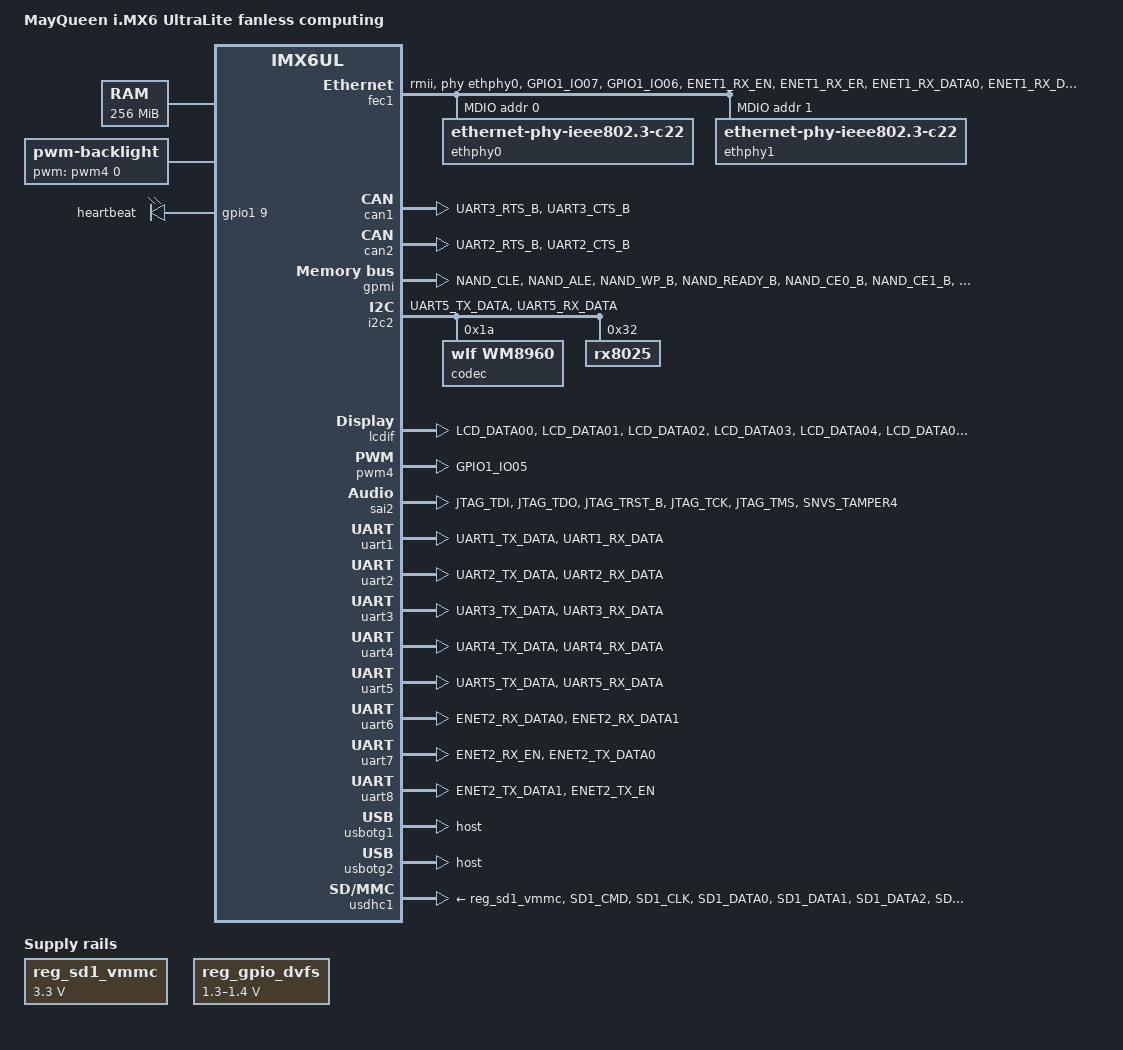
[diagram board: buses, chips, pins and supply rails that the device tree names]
/*
 * Copyright (C) 2018 MayQueen Technologies
 *
 * Author: Wig Cheng <onlywig@gmail.com>
 *
 * This file is dual-licensed: you can use it either under the terms
 * of the GPL or the X11 license, at your option. Note that this dual
 * licensing only applies to this file, and not this project as a
 * whole.
 *
 *  a) This file is free software; you can redistribute it and/or
 *     modify it under the terms of the GNU General Public License as
 *     published by the Free Software Foundation; either version 2 of the
 *     License, or (at your option) any later version.
 *
 *     This file is distributed in the hope that it will be useful,
 *     but WITHOUT ANY WARRANTY; without even the implied warranty of
 *     MERCHANTABILITY or FITNESS FOR A PARTICULAR PURPOSE.  See the
 *     GNU General Public License for more details.
 *
 * Or, alternatively,
 *
 *  b) Permission is hereby granted, free of charge, to any person
 *     obtaining a copy of this software and associated documentation
 *     files (the "Software"), to deal in the Software without
 *     restriction, including without limitation the rights to use,
 *     copy, modify, merge, publish, distribute, sublicense, and/or
 *     sell copies of the Software, and to permit persons to whom the
 *     Software is furnished to do so, subject to the following
 *     conditions:
 *
 *     The above copyright notice and this permission notice shall be
 *     included in all copies or substantial portions of the Software.
 *
 *     THE SOFTWARE IS PROVIDED "AS IS", WITHOUT WARRANTY OF ANY KIND,
 *     EXPRESS OR IMPLIED, INCLUDING BUT NOT LIMITED TO THE WARRANTIES
 *     OF MERCHANTABILITY, FITNESS FOR A PARTICULAR PURPOSE AND
 *     NONINFRINGEMENT. IN NO EVENT SHALL THE AUTHORS OR COPYRIGHT
 *     HOLDERS BE LIABLE FOR ANY CLAIM, DAMAGES OR OTHER LIABILITY,
 *     WHETHER IN AN ACTION OF CONTRACT, TORT OR OTHERWISE, ARISING
 *     FROM, OUT OF OR IN CONNECTION WITH THE SOFTWARE OR THE USE OR
 *     OTHER DEALINGS IN THE SOFTWARE.
*/

/dts-v1/;

#include "imx6ul.dtsi"

/ {
	model = "MayQueen i.MX6 UltraLite fanless computing";
	compatible = "mq,imx6ul-panzer", "fsl,imx6ul";

	chosen {
		stdout-path = &uart1;
	};

	memory {
		reg = <0x80000000 0x10000000>;
	};

	backlight {
		compatible = "pwm-backlight";
		pwms = <&pwm4 0 5000000>;
		brightness-levels = <0 4 8 16 32 64 128 255>;
		default-brightness-level = <6>;
		status = "okay";
	};

	leds {
		compatible = "gpio-leds";
		status = "okay";
		led {
			label = "heartbeat";
			gpios = <&gpio1 9 0>;
			linux,default-trigger = "heartbeat";
			default-state = "on";
		};
	};

	pxp_v4l2 {
		compatible = "fsl,imx6ul-pxp-v4l2", "fsl,imx6sx-pxp-v4l2", "fsl,imx6sl-pxp-v4l2";
		status = "disabled";
	};

	regulators {
		compatible = "simple-bus";
		#address-cells = <1>;
		#size-cells = <0>;

		reg_sd1_vmmc: sd1_regulator {
			compatible = "regulator-fixed";
			regulator-name = "VSD_3V3";
			regulator-min-microvolt = <3300000>;
			regulator-max-microvolt = <3300000>;
			enable-active-high;
		};

		reg_gpio_dvfs: regulator-gpio {
			compatible = "regulator-gpio";
			pinctrl-names = "default";
			pinctrl-0 = <&pinctrl_dvfs>;
			regulator-min-microvolt = <1300000>;
			regulator-max-microvolt = <1400000>;
			regulator-name = "gpio_dvfs";
			regulator-type = "voltage";
			gpios = <&gpio5 3 GPIO_ACTIVE_HIGH>;
			states = <1300000 0x1 1400000 0x0>;
		};
	};

	sound: sound {
		compatible = "fsl,imx6ul-evk-wm8960",
			   "fsl,imx-audio-wm8960";
		model = "wm8960-audio";
		cpu-dai = <&sai2>;
		audio-codec = <&codec>;
		asrc-controller = <&asrc>;
		codec-master;
		gpr = <&gpr 4 0x100000 0x100000>;
		/*
                 * hp-det = <hp-det-pin hp-det-polarity>;
		 * hp-det-pin: JD1 JD2  or JD3
		 * hp-det-polarity = 0: hp detect high for headphone
		 * hp-det-polarity = 1: hp detect high for speaker
		 */
		audio-routing =
			"Headphone Jack", "HP_L",
			"Headphone Jack", "HP_R",
			"Ext Spk", "SPK_LP",
			"Ext Spk", "SPK_LN",
			"Ext Spk", "SPK_RP",
			"Ext Spk", "SPK_RN",
			"LINPUT2", "Mic Jack",
			"LINPUT3", "Mic Jack",
			"RINPUT1", "Main MIC",
			"RINPUT2", "Main MIC",
			"Mic Jack", "MICB",
			"Main MIC", "MICB",
			"CPU-Playback", "ASRC-Playback",
			"Playback", "CPU-Playback",
			"ASRC-Capture", "CPU-Capture",
			"CPU-Capture", "Capture";
	};
};

&clks {
	assigned-clocks = <&clks IMX6UL_CLK_PLL4_AUDIO_DIV>;
	assigned-clock-rates = <786432000>;
};

&cpu0 {
	arm-supply = <&reg_arm>;
	soc-supply = <&reg_soc>;
	dc-supply = <&reg_gpio_dvfs>;
};

&fec1 {
	pinctrl-names = "default";
	pinctrl-0 = <&pinctrl_enet1>;
	phy-mode = "rmii";
	phy-handle = <&ethphy0>;
	phy-reset-duration = <0x02>;
	phy-reset-gpios = <&gpio1 8 0>;

	status = "okay";
	mdio {
		#address-cells = <1>;
		#size-cells = <0>;

		ethphy0: ethernet-phy@0 {
			compatible = "ethernet-phy-ieee802.3-c22";
			reg = <0>;
		};

		ethphy1: ethernet-phy@1 {
			compatible = "ethernet-phy-ieee802.3-c22";
			reg = <1>;
		};
	};
};

&can1 {
	pinctrl-names = "default";
	pinctrl-0 = <&pinctrl_flexcan1>;
	status = "okay";
};

&can2 {
	pinctrl-names = "default";
	pinctrl-0 = <&pinctrl_flexcan2>;
	status = "okay";
};

&gpc {
	fsl,cpu_pupscr_sw2iso = <0x1>;
	fsl,cpu_pupscr_sw = <0x0>;
	fsl,cpu_pdnscr_iso2sw = <0x1>;
	fsl,cpu_pdnscr_iso = <0x1>;
	fsl,wdog-reset = <1>; /* watchdog select of reset source */
	fsl,ldo-bypass = <0>; /* DCDC, ldo-enable */
};

&gpmi {
		pinctrl-names = "default";
		pinctrl-0 = <&pinctrl_gpmi_nand>;
		status = "okay";

		partition@0 {
			label = "UBoot";
			reg = <0x0000000 0x400000>;
		};

		partition@1 {
			label = "kernel";
			reg = <0x400000 0x1000000>;
		};

		partition@2 {
			label = "dtb";
			reg = <0x1400000 0x80000>;
		};

		partition@3 {
			label = "rootfs";
			reg = <0x1480000 0xEB80000>;
		};
};

&i2c2 {
	clock_frequency = <100000>;
	pinctrl-names = "default";
	pinctrl-0 = <&pinctrl_i2c2>;
	status = "okay";

	codec: wm8960@1a {
		#sound-dai-cells = <0>;
		compatible = "wlf,wm8960";
		reg = <0x1a>;
		wlf,shared-lrclk;
		clocks = <&clks IMX6UL_CLK_SAI2>;
		clock-names = "mclk";
	};

	rx8025@32 {
		compatible = "rx8025";
		reg = <0x32>;
		status = "okay";
	};
};

&lcdif {
	pinctrl-names = "default";
	pinctrl-0 = <&pinctrl_lcdif_dat
		     &pinctrl_lcdif_ctrl>;
	display = <&display0>;
	status = "okay";

	display0: display {
		bits-per-pixel = <32>;
		bus-width = <24>;

		display-timings {
			native-mode = <&timing0>;
			timing0: timing0 {
				clock-frequency = <85500000>;
				hactive = <1280>;
				vactive = <800>;
				hfront-porch = <200>;
				hback-porch = <136>;
				hsync-len = <112>;
				vback-porch = <24>;
				vfront-porch = <1>;
				vsync-len = <3>;
				hsync-active = <0>;
				vsync-active = <0>;
				de-active = <1>;
				pixelclk-active = <0>;
			};
		};
	};
};

&pwm4 {
	pinctrl-names = "default";
	pinctrl-0 = <&pinctrl_pwm4>;
	status = "okay";
};

&pxp {
	status = "disabled";
};

&sai2 {
	pinctrl-names = "default";
	pinctrl-0 = <&pinctrl_sai2>;
	assigned-clocks = <&clks IMX6UL_CLK_SAI2_SEL>,
			  <&clks IMX6UL_CLK_SAI2>;
	assigned-clock-parents = <&clks IMX6UL_CLK_PLL4_AUDIO_DIV>;
	assigned-clock-rates = <0>, <12288000>;
	fsl,sai-mclk-direction-output;
	status = "okay";
};

&tsc {
	pinctrl-names = "default";
	pinctrl-0 = <&pinctrl_tsc>;
	xnur-gpio = <&gpio1 3 GPIO_ACTIVE_LOW>;
	measure-delay-time = <0x5ff>;
	pre-charge-time = <0xfff>;
	status = "disabled";
};

&uart1 {
	pinctrl-names = "default";
	pinctrl-0 = <&pinctrl_uart1>;
	status = "okay";
};

&uart2 {
	pinctrl-names = "default";
	pinctrl-0 = <&pinctrl_uart2>;
	status = "okay";
};

&uart3 {
	pinctrl-names = "default";
	pinctrl-0 = <&pinctrl_uart3>;
	status = "okay";
};

&uart4 {
	pinctrl-names = "default";
	pinctrl-0 = <&pinctrl_uart4>;
	status = "okay";
};

&uart5 {
	pinctrl-names = "default";
	pinctrl-0 = <&pinctrl_uart5>;
	status = "okay";
};

&uart6 {
	pinctrl-names = "default";
	pinctrl-0 = <&pinctrl_uart6>;
	status = "okay";
};

&uart7 {
	pinctrl-names = "default";
	pinctrl-0 = <&pinctrl_uart7>;
	status = "okay";
};

&uart8 {
	pinctrl-names = "default";
	pinctrl-0 = <&pinctrl_uart8>;
	status = "okay";
};

&usbotg1 {
	dr_mode = "host";
	srp-disable;
	hnp-disable;
	adp-disable;
	status = "okay";
};

&usbotg2 {
	dr_mode = "host";
	disable-over-current;
	status = "okay";
};

&usbphy1 {
	tx-d-cal = <0x5>;
};

&usbphy2 {
	tx-d-cal = <0x5>;
};

&usdhc1 {
	pinctrl-names = "default", "state_100mhz", "state_200mhz";
	pinctrl-0 = <&pinctrl_usdhc1>;
	pinctrl-1 = <&pinctrl_usdhc1_100mhz>;
	pinctrl-2 = <&pinctrl_usdhc1_200mhz>;
	cd-gpios = <&gpio1 19 GPIO_ACTIVE_LOW>;
	no-1-8-v;
	keep-power-in-suspend;
	wakeup-source;
	vmmc-supply = <&reg_sd1_vmmc>;
	status = "okay";
};

&iomuxc {
	pinctrl-names = "default";
	pinctrl-0 = <&pinctrl_hog_1>;

	pinctrl_hog_1: hoggrp-1 {
		fsl,pins = <
			MX6UL_PAD_SNVS_TAMPER0__GPIO5_IO00	0x17059
			MX6UL_PAD_LCD_RESET__WDOG1_WDOG_ANY	0x30b0
			MX6UL_PAD_SNVS_TAMPER0__GPIO5_IO00	0x80000000
			MX6UL_PAD_SNVS_TAMPER8__GPIO5_IO08	0x80000000
			MX6UL_PAD_SNVS_TAMPER9__GPIO5_IO09	0x80000000
			MX6UL_PAD_GPIO1_IO08__GPIO1_IO08		0x80000000
			MX6UL_PAD_GPIO1_IO01__GPIO1_IO01		0x17059
			MX6UL_PAD_GPIO1_IO02__GPIO1_IO02		0x17059
			MX6UL_PAD_GPIO1_IO03__GPIO1_IO03		0x17059
			MX6UL_PAD_GPIO1_IO04__GPIO1_IO04		0x17059
		>;
	};

	pinctrl_dvfs: dvfsgrp {
		fsl,pins = <
			MX6UL_PAD_SNVS_TAMPER3__GPIO5_IO03	0x79
		>;
	};
	pinctrl_enet1: enet1grp {
		fsl,pins = <
			MX6UL_PAD_GPIO1_IO07__ENET1_MDC		0x1b0b0
			MX6UL_PAD_GPIO1_IO06__ENET1_MDIO	0x1b0b0
			MX6UL_PAD_ENET1_RX_EN__ENET1_RX_EN	0x1b0b0
			MX6UL_PAD_ENET1_RX_ER__ENET1_RX_ER	0x1b0b0
			MX6UL_PAD_ENET1_RX_DATA0__ENET1_RDATA00	0x1b0b0
			MX6UL_PAD_ENET1_RX_DATA1__ENET1_RDATA01	0x1b0b0
			MX6UL_PAD_ENET1_TX_EN__ENET1_TX_EN	0x1b0b0
			MX6UL_PAD_ENET1_TX_DATA0__ENET1_TDATA00	0x1b0b0
			MX6UL_PAD_ENET1_TX_DATA1__ENET1_TDATA01	0x1b0b0
			MX6UL_PAD_ENET1_TX_CLK__ENET1_REF_CLK1	0x4001b031
		>;
	};

	pinctrl_flexcan1: flexcan1grp{
		fsl,pins = <
			MX6UL_PAD_UART3_RTS_B__FLEXCAN1_RX	0x1b020
			MX6UL_PAD_UART3_CTS_B__FLEXCAN1_TX	0x1b020
		>;
	};

	pinctrl_flexcan2: flexcan2grp{
		fsl,pins = <
			MX6UL_PAD_UART2_RTS_B__FLEXCAN2_RX	0x1b020
			MX6UL_PAD_UART2_CTS_B__FLEXCAN2_TX	0x1b020
		>;
	};

	pinctrl_i2c2: i2c2grp {
		fsl,pins = <
			MX6UL_PAD_UART5_TX_DATA__I2C2_SCL 0x4001b8b0
			MX6UL_PAD_UART5_RX_DATA__I2C2_SDA 0x4001b8b0
		>;
	};

	pinctrl_lcdif_dat: lcdifdatgrp {
		fsl,pins = <
			MX6UL_PAD_LCD_DATA00__LCDIF_DATA00  0x79
			MX6UL_PAD_LCD_DATA01__LCDIF_DATA01  0x79
			MX6UL_PAD_LCD_DATA02__LCDIF_DATA02  0x79
			MX6UL_PAD_LCD_DATA03__LCDIF_DATA03  0x79
			MX6UL_PAD_LCD_DATA04__LCDIF_DATA04  0x79
			MX6UL_PAD_LCD_DATA05__LCDIF_DATA05  0x79
			MX6UL_PAD_LCD_DATA06__LCDIF_DATA06  0x79
			MX6UL_PAD_LCD_DATA07__LCDIF_DATA07  0x79
			MX6UL_PAD_LCD_DATA08__LCDIF_DATA08  0x79
			MX6UL_PAD_LCD_DATA09__LCDIF_DATA09  0x79
			MX6UL_PAD_LCD_DATA10__LCDIF_DATA10  0x79
			MX6UL_PAD_LCD_DATA11__LCDIF_DATA11  0x79
			MX6UL_PAD_LCD_DATA12__LCDIF_DATA12  0x79
			MX6UL_PAD_LCD_DATA13__LCDIF_DATA13  0x79
			MX6UL_PAD_LCD_DATA14__LCDIF_DATA14  0x79
			MX6UL_PAD_LCD_DATA15__LCDIF_DATA15  0x79
			MX6UL_PAD_LCD_DATA16__LCDIF_DATA16  0x79
			MX6UL_PAD_LCD_DATA17__LCDIF_DATA17  0x79
			MX6UL_PAD_LCD_DATA18__LCDIF_DATA18  0x79
			MX6UL_PAD_LCD_DATA19__LCDIF_DATA19  0x79
			MX6UL_PAD_LCD_DATA20__LCDIF_DATA20  0x79
			MX6UL_PAD_LCD_DATA21__LCDIF_DATA21  0x79
			MX6UL_PAD_LCD_DATA22__LCDIF_DATA22  0x79
			MX6UL_PAD_LCD_DATA23__LCDIF_DATA23  0x79
		>;
	};

	pinctrl_lcdif_ctrl: lcdifctrlgrp {
		fsl,pins = <
			MX6UL_PAD_LCD_CLK__LCDIF_CLK	    0x79
			MX6UL_PAD_LCD_ENABLE__LCDIF_ENABLE  0x79
			MX6UL_PAD_LCD_HSYNC__LCDIF_HSYNC    0x79
			MX6UL_PAD_LCD_VSYNC__LCDIF_VSYNC    0x79
		>;
	};

	pinctrl_sai2: sai2grp {
		fsl,pins = <
			MX6UL_PAD_JTAG_TDI__SAI2_TX_BCLK	0x17088
			MX6UL_PAD_JTAG_TDO__SAI2_TX_SYNC	0x17088
			MX6UL_PAD_JTAG_TRST_B__SAI2_TX_DATA	0x11088
			MX6UL_PAD_JTAG_TCK__SAI2_RX_DATA	0x11088
			MX6UL_PAD_JTAG_TMS__SAI2_MCLK		0x17088
			MX6UL_PAD_SNVS_TAMPER4__GPIO5_IO04	0x17059
		>;
	};

	pinctrl_pwm4: pwm4grp {
		fsl,pins = <
			MX6UL_PAD_GPIO1_IO05__PWM4_OUT   0x110b0
		>;
	};

	pinctrl_gpmi_nand: gpmi-nand {
		fsl,pins = <
			MX6UL_PAD_NAND_CLE__RAWNAND_CLE	0xb0b1
			MX6UL_PAD_NAND_ALE__RAWNAND_ALE	0xb0b1
			MX6UL_PAD_NAND_WP_B__RAWNAND_WP_B	0xb0b1
			MX6UL_PAD_NAND_READY_B__RAWNAND_READY_B	0xb000
			MX6UL_PAD_NAND_CE0_B__RAWNAND_CE0_B	0xb0b1
			MX6UL_PAD_NAND_CE1_B__RAWNAND_CE1_B	0xb0b1
			MX6UL_PAD_NAND_RE_B__RAWNAND_RE_B	0xb0b1
			MX6UL_PAD_NAND_WE_B__RAWNAND_WE_B	0xb0b1
			MX6UL_PAD_NAND_DATA00__RAWNAND_DATA00	0xb0b1
			MX6UL_PAD_NAND_DATA01__RAWNAND_DATA01	0xb0b1
			MX6UL_PAD_NAND_DATA02__RAWNAND_DATA02	0xb0b1
			MX6UL_PAD_NAND_DATA03__RAWNAND_DATA03	0xb0b1
			MX6UL_PAD_NAND_DATA04__RAWNAND_DATA04	0xb0b1
			MX6UL_PAD_NAND_DATA05__RAWNAND_DATA05	0xb0b1
			MX6UL_PAD_NAND_DATA06__RAWNAND_DATA06	0xb0b1
			MX6UL_PAD_NAND_DATA07__RAWNAND_DATA07	0xb0b1
		>;
	};

	pinctrl_tsc: tscgrp {
		fsl,pins = <
			MX6UL_PAD_GPIO1_IO01__GPIO1_IO01		0xb0
			MX6UL_PAD_GPIO1_IO02__GPIO1_IO02		0xb0
			MX6UL_PAD_GPIO1_IO03__GPIO1_IO03		0xb0
			MX6UL_PAD_GPIO1_IO04__GPIO1_IO04		0xb0
		>;
	};

	pinctrl_uart1: uart1grp {
		fsl,pins = <
			MX6UL_PAD_UART1_TX_DATA__UART1_DCE_TX	0x1b0b1
			MX6UL_PAD_UART1_RX_DATA__UART1_DCE_RX	0x1b0b1
		>;
	};

	pinctrl_uart2: uart2grp {
		fsl,pins = <
			MX6UL_PAD_UART2_TX_DATA__UART2_DCE_TX	0x1b0b1
			MX6UL_PAD_UART2_RX_DATA__UART2_DCE_RX	0x1b0b1
		>;
	};

	pinctrl_uart3: uart3grp {
		fsl,pins = <
			MX6UL_PAD_UART3_TX_DATA__UART3_DCE_TX	0x1b0b1
			MX6UL_PAD_UART3_RX_DATA__UART3_DCE_RX	0x1b0b1
		>;
	};

	pinctrl_uart4: uart4grp {
		fsl,pins = <
			MX6UL_PAD_UART4_TX_DATA__UART4_DCE_TX	0x1b0b1
			MX6UL_PAD_UART4_RX_DATA__UART4_DCE_RX	0x1b0b1
		>;
	};

	pinctrl_uart5: uart5grp {
		fsl,pins = <
			MX6UL_PAD_UART5_TX_DATA__UART5_DCE_TX	0x1b0b1
			MX6UL_PAD_UART5_RX_DATA__UART5_DCE_RX	0x1b0b1
		>;
	};

	pinctrl_uart6: uart6grp {
		fsl,pins = <
			MX6UL_PAD_ENET2_RX_DATA0__UART6_DCE_TX	0x1b0b1
			MX6UL_PAD_ENET2_RX_DATA1__UART6_DCE_RX	0x1b0b1
		>;
	};

	pinctrl_uart7: uart7grp {
		fsl,pins = <
			MX6UL_PAD_ENET2_RX_EN__UART7_DCE_TX			0x1b0b1
			MX6UL_PAD_ENET2_TX_DATA0__UART7_DCE_RX	0x1b0b1
		>;
	};

	pinctrl_uart8: uart8grp {
		fsl,pins = <
			MX6UL_PAD_ENET2_TX_DATA1__UART8_DCE_TX	0x1b0b1
			MX6UL_PAD_ENET2_TX_EN__UART8_DCE_RX			0x1b0b1
		>;
	};

	pinctrl_usdhc1: usdhc1grp {
		fsl,pins = <
			MX6UL_PAD_SD1_CMD__USDHC1_CMD     	0x17059
			MX6UL_PAD_SD1_CLK__USDHC1_CLK     	0x10071
			MX6UL_PAD_SD1_DATA0__USDHC1_DATA0 	0x17059
			MX6UL_PAD_SD1_DATA1__USDHC1_DATA1 	0x17059
			MX6UL_PAD_SD1_DATA2__USDHC1_DATA2 	0x17059
			MX6UL_PAD_SD1_DATA3__USDHC1_DATA3 	0x17059
			MX6UL_PAD_UART1_RTS_B__GPIO1_IO19 	0x17059 /* SD1 CD */
		>;
	};

	pinctrl_usdhc1_100mhz: usdhc1grp100mhz {
		fsl,pins = <
			MX6UL_PAD_SD1_CMD__USDHC1_CMD     0x170b9
			MX6UL_PAD_SD1_CLK__USDHC1_CLK     0x100b9
			MX6UL_PAD_SD1_DATA0__USDHC1_DATA0 0x170b9
			MX6UL_PAD_SD1_DATA1__USDHC1_DATA1 0x170b9
			MX6UL_PAD_SD1_DATA2__USDHC1_DATA2 0x170b9
			MX6UL_PAD_SD1_DATA3__USDHC1_DATA3 0x170b9

		>;
	};

	pinctrl_usdhc1_200mhz: usdhc1grp200mhz {
		fsl,pins = <
			MX6UL_PAD_SD1_CMD__USDHC1_CMD     0x170f9
			MX6UL_PAD_SD1_CLK__USDHC1_CLK     0x100f9
			MX6UL_PAD_SD1_DATA0__USDHC1_DATA0 0x170f9
			MX6UL_PAD_SD1_DATA1__USDHC1_DATA1 0x170f9
			MX6UL_PAD_SD1_DATA2__USDHC1_DATA2 0x170f9
			MX6UL_PAD_SD1_DATA3__USDHC1_DATA3 0x170f9
		>;
	};
};
